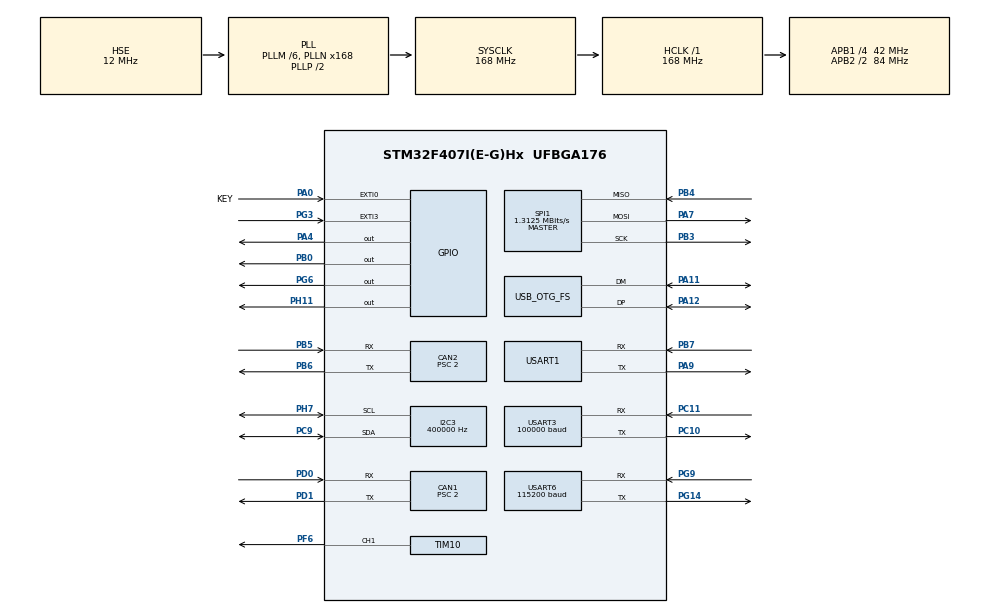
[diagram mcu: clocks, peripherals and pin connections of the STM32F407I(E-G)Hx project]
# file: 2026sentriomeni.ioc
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CAN1.ABOM=ENABLE
CAN1.AWUM=DISABLE
CAN1.BS1=CAN_BS1_15TQ
CAN1.BS2=CAN_BS2_5TQ
CAN1.CalculateBaudRate=1000000
CAN1.CalculateTimeBit=1000
CAN1.CalculateTimeQuantum=47.61904761904762
CAN1.Mode=CAN_MODE_NORMAL
CAN1.NART=ENABLE
CAN1.Prescaler=2
CAN1.RFLM=DISABLE
CAN1.SJW=CAN_SJW_1TQ
CAN1.TTCM=DISABLE
CAN1.TXFP=DISABLE
CAN2.ABOM=ENABLE
CAN2.AWUM=DISABLE
CAN2.BS1=CAN_BS1_15TQ
CAN2.BS2=CAN_BS2_5TQ
CAN2.CalculateBaudRate=1000000
CAN2.CalculateTimeBit=1000
CAN2.CalculateTimeQuantum=47.61904761904762
CAN2.Mode=CAN_MODE_NORMAL
CAN2.NART=ENABLE
CAN2.Prescaler=2
CAN2.RFLM=DISABLE
CAN2.SJW=CAN_SJW_1TQ
CAN2.TTCM=DISABLE
CAN2.TXFP=DISABLE
Dma.Request0=USART6_RX
Dma.Request1=USART6_TX
Dma.Request2=USART3_RX
Dma.Request3=SPI1_RX
Dma.Request4=SPI1_TX
Dma.SPI1_RX.3.Direction=DMA_PERIPH_TO_MEMORY
Dma.SPI1_RX.3.FIFOMode=DMA_FIFOMODE_DISABLE
Dma.SPI1_RX.3.Instance=DMA2_Stream2
Dma.SPI1_RX.3.MemDataAlignment=DMA_MDATAALIGN_BYTE
Dma.SPI1_RX.3.MemInc=DMA_MINC_ENABLE
Dma.SPI1_RX.3.Mode=DMA_NORMAL
Dma.SPI1_RX.3.PeriphDataAlignment=DMA_PDATAALIGN_BYTE
Dma.SPI1_RX.3.PeriphInc=DMA_PINC_DISABLE
Dma.SPI1_RX.3.Priority=DMA_PRIORITY_VERY_HIGH
Dma.SPI1_TX.4.Direction=DMA_MEMORY_TO_PERIPH
Dma.SPI1_TX.4.FIFOMode=DMA_FIFOMODE_DISABLE
Dma.SPI1_TX.4.Instance=DMA2_Stream3
Dma.SPI1_TX.4.MemDataAlignment=DMA_MDATAALIGN_BYTE
Dma.SPI1_TX.4.MemInc=DMA_MINC_ENABLE
Dma.SPI1_TX.4.Mode=DMA_NORMAL
Dma.SPI1_TX.4.PeriphDataAlignment=DMA_PDATAALIGN_BYTE
Dma.SPI1_TX.4.PeriphInc=DMA_PINC_DISABLE
Dma.SPI1_TX.4.Priority=DMA_PRIORITY_HIGH
Dma.USART3_RX.2.Direction=DMA_PERIPH_TO_MEMORY
Dma.USART3_RX.2.FIFOMode=DMA_FIFOMODE_DISABLE
Dma.USART3_RX.2.Instance=DMA1_Stream1
Dma.USART3_RX.2.MemDataAlignment=DMA_MDATAALIGN_BYTE
Dma.USART3_RX.2.MemInc=DMA_MINC_ENABLE
Dma.USART3_RX.2.Mode=DMA_CIRCULAR
Dma.USART3_RX.2.PeriphDataAlignment=DMA_PDATAALIGN_BYTE
Dma.USART3_RX.2.PeriphInc=DMA_PINC_DISABLE
Dma.USART3_RX.2.Priority=DMA_PRIORITY_HIGH
Dma.USART6_RX.0.Direction=DMA_PERIPH_TO_MEMORY
Dma.USART6_RX.0.FIFOMode=DMA_FIFOMODE_DISABLE
Dma.USART6_RX.0.Instance=DMA2_Stream1
Dma.USART6_RX.0.MemDataAlignment=DMA_MDATAALIGN_BYTE
Dma.USART6_RX.0.MemInc=DMA_MINC_ENABLE
Dma.USART6_RX.0.Mode=DMA_NORMAL
Dma.USART6_RX.0.PeriphDataAlignment=DMA_PDATAALIGN_BYTE
Dma.USART6_RX.0.PeriphInc=DMA_PINC_DISABLE
Dma.USART6_RX.0.Priority=DMA_PRIORITY_HIGH
Dma.USART6_TX.1.Direction=DMA_MEMORY_TO_PERIPH
Dma.USART6_TX.1.FIFOMode=DMA_FIFOMODE_DISABLE
Dma.USART6_TX.1.Instance=DMA2_Stream6
Dma.USART6_TX.1.MemDataAlignment=DMA_MDATAALIGN_BYTE
Dma.USART6_TX.1.MemInc=DMA_MINC_ENABLE
Dma.USART6_TX.1.Mode=DMA_CIRCULAR
Dma.USART6_TX.1.PeriphDataAlignment=DMA_PDATAALIGN_BYTE
Dma.USART6_TX.1.PeriphInc=DMA_PINC_DISABLE
Dma.USART6_TX.1.Priority=DMA_PRIORITY_HIGH
FREERTOS.HEAP_NUMBER=4
FREERTOS.INCLUDE_eTaskGetState=0
FREERTOS.INCLUDE_pcTaskGetTaskName=0
FREERTOS.INCLUDE_uxTaskGetStackHighWaterMark=0
FREERTOS.INCLUDE_uxTaskGetStackHighWaterMark2=0
FREERTOS.INCLUDE_uxTaskPriorityGet=1
FREERTOS.INCLUDE_vTaskCleanUpResources=0
FREERTOS.INCLUDE_vTaskDelay=1
FREERTOS.INCLUDE_vTaskDelayUntil=0
FREERTOS.INCLUDE_vTaskDelete=1
FREERTOS.INCLUDE_vTaskPrioritySet=1
FREERTOS.INCLUDE_vTaskSuspend=1
FREERTOS.INCLUDE_xEventGroupSetBitFromISR=0
FREERTOS.INCLUDE_xQueueGetMutexHolder=0
FREERTOS.INCLUDE_xSemaphoreGetMutexHolder=0
FREERTOS.INCLUDE_xTaskAbortDelay=0
FREERTOS.INCLUDE_xTaskGetCurrentTaskHandle=0
FREERTOS.INCLUDE_xTaskGetHandle=0
FREERTOS.INCLUDE_xTaskResumeFromISR=1
FREERTOS.MEMORY_ALLOCATION=2
FREERTOS.Tasks01=defaultTask,0,256,StartDefaultTask,Default,NULL ,Dynamic,NULL,NULL
FREERTOS.configCHECK_FOR_STACK_OVERFLOW=0
FREERTOS.configENABLE_BACKWARD_COMPATIBILITY=1
FREERTOS.configENABLE_FPU=0
FREERTOS.configGENERATE_RUN_TIME_STATS=0
FREERTOS.configIDLE_SHOULD_YIELD=1
FREERTOS.configLIBRARY_LOWEST_INTERRUPT_PRIORITY=15
FREERTOS.configLIBRARY_MAX_SYSCALL_INTERRUPT_PRIORITY=5
FREERTOS.configMAX_CO_ROUTINE_PRIORITIES=2
FREERTOS.configMAX_PRIORITIES=7
FREERTOS.configMAX_TASK_NAME_LEN=16
FREERTOS.configMINIMAL_STACK_SIZE=256
FREERTOS.configQUEUE_REGISTRY_SIZE=8
FREERTOS.configRECORD_STACK_HIGH_ADDRESS=0
FREERTOS.configTICK_RATE_HZ=1000
FREERTOS.configTOTAL_HEAP_SIZE=40960
FREERTOS.configUSE_APPLICATION_TASK_TAG=0
FREERTOS.configUSE_COUNTING_SEMAPHORES=0
FREERTOS.configUSE_CO_ROUTINES=0
FREERTOS.configUSE_DAEMON_TASK_STARTUP_HOOK=0
FREERTOS.configUSE_IDLE_HOOK=0
FREERTOS.configUSE_MALLOC_FAILED_HOOK=0
FREERTOS.configUSE_MUTEXES=1
FREERTOS.configUSE_NEWLIB_REENTRANT=0
FREERTOS.configUSE_POSIX_ERRNO=0
FREERTOS.configUSE_PREEMPTION=1
FREERTOS.configUSE_RECURSIVE_MUTEXES=0
FREERTOS.configUSE_STATS_FORMATTING_FUNCTIONS=0
FREERTOS.configUSE_TASK_NOTIFICATIONS=1
FREERTOS.configUSE_TICKLESS_IDLE=0
FREERTOS.configUSE_TICK_HOOK=0
FREERTOS.configUSE_TIMERS=0
FREERTOS.configUSE_TRACE_FACILITY=0
FREERTOS.copyHeapFile=1
I2C3.AddressingMode=I2C_ADDRESSINGMODE_7BIT
I2C3.ClockSpeed=400000
I2C3.DualAddressMode=I2C_DUALADDRESS_DISABLE
I2C3.DutyCycle=I2C_DUTYCYCLE_2
I2C3.GeneralCallMode=I2C_GENERALCALL_DISABLE
I2C3.I2C_Mode=I2C_Fast
I2C3.NoStretchMode=I2C_NOSTRETCH_DISABLE
I2C3.OwnAddress=0
Mcu.Family=STM32F4
Mcu.Name=STM32F407I(E-G)Hx
Mcu.Package=UFBGA176
NVIC.CAN1_RX0_IRQn=true\:5\:0\:false\:false\:true\:true\:true\:true\:true
NVIC.CAN1_RX1_IRQn=true\:5\:0\:false\:false\:true\:true\:true\:true\:true
NVIC.CAN2_RX0_IRQn=true\:5\:0\:false\:false\:true\:true\:true\:true\:true
NVIC.CAN2_RX1_IRQn=true\:5\:0\:false\:false\:true\:true\:true\:true\:true
NVIC.DMA1_Stream1_IRQn=true\:5\:0\:false\:false\:true\:true\:false\:true\:true
NVIC.DMA2_Stream1_IRQn=true\:5\:0\:false\:false\:true\:true\:false\:true\:true
NVIC.DMA2_Stream2_IRQn=true\:5\:0\:false\:false\:true\:false\:false\:true\:true
NVIC.DMA2_Stream3_IRQn=true\:5\:0\:false\:false\:true\:true\:false\:true\:true
NVIC.DMA2_Stream6_IRQn=true\:5\:0\:false\:false\:true\:true\:false\:true\:true
NVIC.OTG_FS_IRQn=true\:5\:0\:false\:false\:true\:true\:true\:true\:true
NVIC.PriorityGroup=NVIC_PRIORITYGROUP_4
NVIC.TIM1_UP_TIM10_IRQn=true\:5\:0\:false\:false\:true\:false\:false\:true\:true
NVIC.TIM2_IRQn=true\:15\:0\:false\:false\:true\:false\:true\:true\:true
NVIC.TimeBase=TIM2_IRQn
NVIC.TimeBaseIP=TIM2
NVIC.USART3_IRQn=true\:5\:0\:false\:false\:true\:true\:true\:true\:true
NVIC.USART6_IRQn=true\:5\:0\:false\:false\:true\:true\:true\:true\:true
PA0-WKUP.GPIO_Label=KEY
PA0-WKUP.GPIO_ModeDefaultEXTI=GPIO_MODE_IT_RISING_FALLING
PA0-WKUP.GPIO_PuPd=GPIO_PULLUP
PA0-WKUP.Signal=GPXTI0
PA11.Mode=Device_Only
PA11.Signal=USB_OTG_FS_DM
PA12.Mode=Device_Only
PA12.Signal=USB_OTG_FS_DP
PA13.Mode=Serial_Wire
PA13.Signal=SYS_JTMS-SWDIO
PA14.Mode=Serial_Wire
PA14.Signal=SYS_JTCK-SWCLK
PA4.PinState=GPIO_PIN_SET
PA4.Signal=GPIO_Output
PA7.Mode=Full_Duplex_Master
PA7.Signal=SPI1_MOSI
PA9.Mode=Asynchronous
PA9.Signal=USART1_TX
PB0.PinState=GPIO_PIN_SET
PB0.Signal=GPIO_Output
PB3.Mode=Full_Duplex_Master
PB3.Signal=SPI1_SCK
PB4.Mode=Full_Duplex_Master
PB4.Signal=SPI1_MISO
PB5.Mode=CAN_Activate
PB5.Signal=CAN2_RX
PB6.Mode=CAN_Activate
PB6.Signal=CAN2_TX
PB7.Mode=Asynchronous
PB7.Signal=USART1_RX
PC10.Mode=Asynchronous
PC10.Signal=USART3_TX
PC11.Mode=Asynchronous
PC11.Signal=USART3_RX
PC9.Mode=I2C
PC9.Signal=I2C3_SDA
PD0.Mode=CAN_Activate
PD0.Signal=CAN1_RX
PD1.Mode=CAN_Activate
PD1.Signal=CAN1_TX
PF6.Signal=S_TIM10_CH1
PG14.Mode=Asynchronous
PG14.Signal=USART6_TX
PG3.GPIO_PuPd=GPIO_PULLUP
PG3.Signal=GPXTI3
PG6.Signal=GPIO_Output
PG9.Mode=Asynchronous
PG9.Signal=USART6_RX
PH0-OSC_IN.Mode=HSE-External-Oscillator
PH0-OSC_IN.Signal=RCC_OSC_IN
PH1-OSC_OUT.Mode=HSE-External-Oscillator
PH1-OSC_OUT.Signal=RCC_OSC_OUT
PH11.Signal=GPIO_Output
PH7.Mode=I2C
PH7.Signal=I2C3_SCL
ProjectManager.HeapSize=0x200
ProjectManager.StackSize=0x400
ProjectManager.TargetToolchain=CMake
RCC.48MHZClocksFreq_Value=48000000
RCC.AHBFreq_Value=168000000
RCC.APB1CLKDivider=RCC_HCLK_DIV4
RCC.APB1Freq_Value=42000000
RCC.APB1TimFreq_Value=84000000
RCC.APB2CLKDivider=RCC_HCLK_DIV2
RCC.APB2Freq_Value=84000000
RCC.APB2TimFreq_Value=168000000
RCC.CortexFreq_Value=168000000
RCC.FLatency=FLASH_LATENCY_5
RCC.HCLKFreq_Value=168000000
RCC.HSE_VALUE=12000000
RCC.HSI_VALUE=16000000
RCC.LSE_VALUE=32768
RCC.PLLM=6
RCC.PLLN=168
RCC.PLLQ=7
RCC.SYSCLKFreq_VALUE=168000000
RCC.SYSCLKSource=RCC_SYSCLKSOURCE_PLLCLK
RCC.VCOOutputFreq_Value=336000000
SH.S_TIM10_CH1.0=TIM10_CH1,PWM Generation1 CH1
SPI1.BaudRatePrescaler=SPI_BAUDRATEPRESCALER_64
SPI1.CLKPhase=SPI_PHASE_2EDGE
SPI1.CLKPolarity=SPI_POLARITY_HIGH
SPI1.CRCCalculation=SPI_CRCCALCULATION_DISABLE
SPI1.CalculateBaudRate=1.3125 MBits/s
SPI1.DataSize=SPI_DATASIZE_8BIT
SPI1.Direction=SPI_DIRECTION_2LINES
SPI1.FirstBit=SPI_FIRSTBIT_MSB
SPI1.Mode=SPI_MODE_MASTER
SPI1.NSS=SPI_NSS_SOFT
SPI1.TIMode=SPI_TIMODE_DISABLE
SPI1.VirtualType=VM_MASTER
TIM10.AutoReloadPreload=TIM_AUTORELOAD_PRELOAD_DISABLE
TIM10.Channel=TIM_CHANNEL_1
TIM10.ClockDivision=TIM_CLOCKDIVISION_DIV1
TIM10.CounterMode=TIM_COUNTERMODE_UP
TIM10.OC1Preload_PWM=ENABLE
TIM10.OCFastMode_PWM=TIM_OCFAST_DISABLE
TIM10.OCMode_PWM=TIM_OCMODE_PWM1
TIM10.OCPolarity_1=TIM_OCPOLARITY_HIGH
TIM10.Period=4999
TIM10.Prescaler=0
TIM10.Pulse=0
USART1.VirtualMode=VM_ASYNC
USART3.BaudRate=100000
USART3.Mode=MODE_RX
USART3.OverSampling=UART_OVERSAMPLING_16
USART3.Parity=PARITY_EVEN
USART3.StopBits=STOPBITS_1
USART3.VirtualMode=VM_ASYNC
USART3.WordLength=WORDLENGTH_8B
USART6.BaudRate=115200
USART6.Mode=MODE_TX_RX
USART6.OverSampling=UART_OVERSAMPLING_16
USART6.Parity=PARITY_NONE
USART6.StopBits=STOPBITS_1
USART6.VirtualMode=VM_ASYNC
USART6.WordLength=WORDLENGTH_8B
USB_DEVICE.CLASS_NAME_FS=CDC
USB_DEVICE.VirtualMode-CDC_FS=Cdc
USB_DEVICE.VirtualModeFS=Cdc_FS
USB_OTG_FS.VirtualMode=Device_Only
VP_CRC_VS_CRC.Mode=CRC_Activate
VP_FREERTOS_VS_CMSIS_V1.Mode=CMSIS_V1
VP_SYS_VS_tim2.Mode=TIM2
VP_TIM10_VS_ClockSourceINT.Mode=Enable_Timer
VP_USB_DEVICE_VS_USB_DEVICE_CDC_FS.Mode=CDC_FS
board=custom

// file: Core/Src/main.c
/* USER CODE BEGIN Header */
/**
  ******************************************************************************
  * @file           : main.c
  * @brief          : Main program body
  ******************************************************************************
  * @attention
  *
  * Copyright (c) 2026 STMicroelectronics.
  * All rights reserved.
  *
  * This software is licensed under terms that can be found in the LICENSE file
  * in the root directory of this software component.
  * If no LICENSE file comes with this software, it is provided AS-IS.
  *
  ******************************************************************************
  */
/* USER CODE END Header */
#include "main.h"
#include "cmsis_os.h"
#include "can.h"
#include "crc.h"
#include "dma.h"
#include "i2c.h"
#include "spi.h"
#include "tim.h"
#include "usart.h"
#include "usb_device.h"
#include "gpio.h"

/* USER CODE BEGIN Includes */
#include "bsp_dwt.h"
#include "bsp_can.h"
#include "usart_dma.h"
#include "dbus.h"

/* USER CODE END Includes */

void SystemClock_Config(void);
void MX_FREERTOS_Init(void);

/* USER CODE BEGIN 0 */
/*Dbus初始化*/
void MyUartCallbackFun(volatile uint8_t* buf, int len) {
  // 调用DBUS解码
  DBUS_Decode(buf, len);
  // 现在全局变量dbus已更新，可以直接使用
}

/* USER CODE END 0 */

int main(void)
{

  /* MCU Configuration--------------------------------------------------------*/

  /* Reset of all peripherals, Initializes the Flash interface and the Systick. */

    HAL_Init();

  /* USER CODE BEGIN Init */

  /* USER CODE _angleEND Init */

  /* Configure the system clock */
  SystemClock_Config();

  /* Initialize all configured peripherals */
  MX_GPIO_Init();
  MX_DMA_Init();
  MX_CAN1_Init();
  MX_USART3_UART_Init();
  MX_USART6_UART_Init();
  MX_CAN2_Init();
  MX_SPI1_Init();
  MX_I2C3_Init();
  MX_TIM10_Init();
  MX_USART1_UART_Init();
  MX_CRC_Init();
  /* USER CODE BEGIN 2 */
  MX_USB_DEVICE_Init();
  BSP_CAN_Init();
  BSP_DWT_Init();

  Uart_Init(&huart3, MyUartCallbackFun); // huart3是连接遥控器的UART实例

  /* USER CODE END 2 */

  /* Call init function for freertos objects (in cmsis_os2.c) */
  MX_FREERTOS_Init();

  /* Start scheduler */
  osKernelStart();

  /* We should never get here as control is now taken by the scheduler */

  /* Infinite loop */
  while (1)
  {

  }
}

void SystemClock_Config(void)
{
  RCC_OscInitTypeDef RCC_OscInitStruct = {0};
  RCC_ClkInitTypeDef RCC_ClkInitStruct = {0};

  /** Configure the main internal regulator output voltage
  */
  __HAL_RCC_PWR_CLK_ENABLE();
  __HAL_PWR_VOLTAGESCALING_CONFIG(PWR_REGULATOR_VOLTAGE_SCALE1);

  /** Initializes the RCC Oscillators according to the specified parameters
  * in the RCC_OscInitTypeDef structure.
  */
  RCC_OscInitStruct.OscillatorType = RCC_OSCILLATORTYPE_HSE;
  RCC_OscInitStruct.HSEState = RCC_HSE_ON;
  RCC_OscInitStruct.PLL.PLLState = RCC_PLL_ON;
  RCC_OscInitStruct.PLL.PLLSource = RCC_PLLSOURCE_HSE;
  RCC_OscInitStruct.PLL.PLLM = 6;
  RCC_OscInitStruct.PLL.PLLN = 168;
  RCC_OscInitStruct.PLL.PLLP = RCC_PLLP_DIV2;
  RCC_OscInitStruct.PLL.PLLQ = 7;
  if (HAL_RCC_OscConfig(&RCC_OscInitStruct) != HAL_OK)
  {
    Error_Handler();
  }

  /** Initializes the CPU, AHB and APB buses clocks
  */
  RCC_ClkInitStruct.ClockType = RCC_CLOCKTYPE_HCLK|RCC_CLOCKTYPE_SYSCLK
                              |RCC_CLOCKTYPE_PCLK1|RCC_CLOCKTYPE_PCLK2;
  RCC_ClkInitStruct.SYSCLKSource = RCC_SYSCLKSOURCE_PLLCLK;
  RCC_ClkInitStruct.AHBCLKDivider = RCC_SYSCLK_DIV1;
  RCC_ClkInitStruct.APB1CLKDivider = RCC_HCLK_DIV4;
  RCC_ClkInitStruct.APB2CLKDivider = RCC_HCLK_DIV2;

  if (HAL_RCC_ClockConfig(&RCC_ClkInitStruct, FLASH_LATENCY_5) != HAL_OK)
  {
    Error_Handler();
  }
}

void HAL_TIM_PeriodElapsedCallback(TIM_HandleTypeDef *htim)
{
  if (htim->Instance == TIM2)
  {
    HAL_IncTick();
  }
}

void Error_Handler(void)
{
  __disable_irq();
  while (1)
  {
  }
}

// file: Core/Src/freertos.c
/* USER CODE BEGIN Header */
/**
  ******************************************************************************
  * File Name          : freertos.c
  * Description        : Code for freertos applications
  ******************************************************************************
  * @attention
  *
  * Copyright (c) 2026 STMicroelectronics.
  * All rights reserved.
  *
  * This software is licensed under terms that can be found in the LICENSE file
  * in the root directory of this software component.
  * If no LICENSE file comes with this software, it is provided AS-IS.
  *
  ******************************************************************************
  */
/* USER CODE END Header */

#include "FreeRTOS.h"
#include "task.h"
#include "main.h"
#include "cmsis_os.h"

/* USER CODE BEGIN Includes */
#include "ImuTask.h"
#include "ControlCenterTask.h"
#include "FireTask.h"
#include "GimbalTask.h"
#include "TaskConfig.h"
#include "UsbConnectTask.h"
/* USER CODE END Includes */

/* USER CODE BEGIN PTD */
QueueHandle_t usbRxQueue = NULL;
/* USER CODE END PTD */

osThreadId defaultTaskHandle;

/* USER CODE BEGIN FunctionPrototypes */

extern void StartControlCenterTask_Init();
extern void StartImuTask_Init();
extern void StartFireTask_Init();
extern void StartGimbalTask_Init();
extern void StartTestTask_Init();
extern void StartUsbConnectTask_Init();
/* USER CODE END FunctionPrototypes */

void StartDefaultTask(void const * argument);

extern void MX_USB_DEVICE_Init(void);
void MX_FREERTOS_Init(void); /* (MISRA C 2004 rule 8.1) */

/* GetIdleTaskMemory prototype (linked to static allocation support) */
void vApplicationGetIdleTaskMemory( StaticTask_t **ppxIdleTaskTCBBuffer, StackType_t **ppxIdleTaskStackBuffer, uint32_t *pulIdleTaskStackSize );

/* USER CODE BEGIN GET_IDLE_TASK_MEMORY */
static StaticTask_t xIdleTaskTCBBuffer;
static StackType_t xIdleStack[configMINIMAL_STACK_SIZE];

void vApplicationGetIdleTaskMemory( StaticTask_t **ppxIdleTaskTCBBuffer, StackType_t **ppxIdleTaskStackBuffer, uint32_t *pulIdleTaskStackSize )
{
  *ppxIdleTaskTCBBuffer = &xIdleTaskTCBBuffer;
  *ppxIdleTaskStackBuffer = &xIdleStack[0];
  *pulIdleTaskStackSize = configMINIMAL_STACK_SIZE;
  /* place for user code */
}
/* USER CODE END GET_IDLE_TASK_MEMORY */

void MX_FREERTOS_Init(void) {

  /* USER CODE BEGIN RTOS_QUEUES */
  /* add queues, ... */
  // 创建USB接收队列
  usbRxQueue = xQueueCreate(128, sizeof(uint8_t));
  if (usbRxQueue == NULL) {
    // 队列创建失败，可以添加错误处理
    // 这里简单标记，实际产品需要更健壮的处理
  }
  /* USER CODE END RTOS_QUEUES */

  /* Create the thread(s) */
  /* definition and creation of defaultTask */
  osThreadDef(defaultTask, StartDefaultTask, osPriorityNormal, 0, 256);
  defaultTaskHandle = osThreadCreate(osThread(defaultTask), NULL );

  /* USER CODE BEGIN RTOS_THREADS */

  /* add threads, ... */
  StartFireTask_Init();
  StartImuTask_Init();
  StartGimbalTask_Init();
  StartControlCenterTask_Init();
  StartUsbConnectTask_Init();
  //StartTestTask_Init();
  /* USER CODE END RTOS_THREADS */

}

void StartDefaultTask(void const * argument)
{
  /* init code for USB_DEVICE */
  MX_USB_DEVICE_Init();
  for(;;)
  {
    osDelay(1);
  }
}
